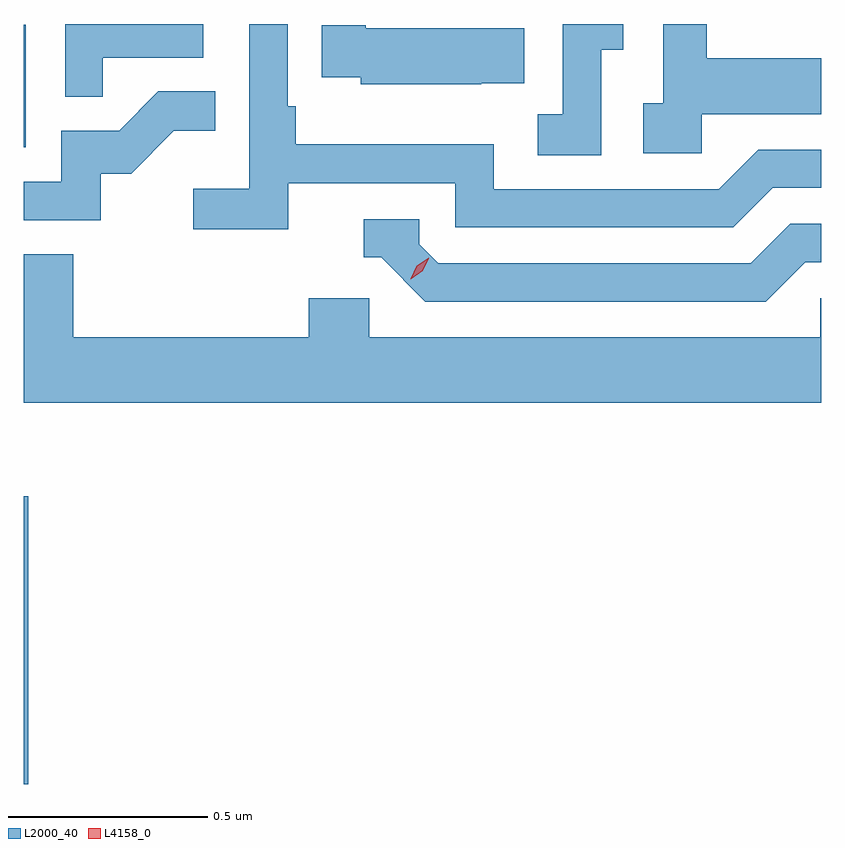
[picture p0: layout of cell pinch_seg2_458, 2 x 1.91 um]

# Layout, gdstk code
import gdstk
lib = gdstk.Library(unit=1e-6, precision=1e-09)
def R(c, l, rs):  # rectangles x0, y0, x1, y1
    for r in rs: c.add(gdstk.rectangle(r[:2], r[2:], *l))
def P(c, l, *ps):  # polygons
    for p in ps: c.add(gdstk.Polygon(p, *l))
L2000_40 = (2000, 40)
L4158_0 = (4158, 0)

pinch_seg2_458 = lib.new_cell('pinch_seg2_458')
R(pinch_seg2_458, L2000_40, [(912.952,614.712,912.964,615.433), (912.952,616.308,912.958,616.615)])
P(pinch_seg2_458, L2000_40, [(914.4,616.552),(914.455,616.552),(914.455,616.617),(914.304,616.617),(914.304,616.391),(914.241,616.391),(914.241,616.288),(914.4,616.288)],
  [(913.616,616.218),(914.034,616.218),(914.034,616.107),(914.731,616.107),(914.83,616.206),(914.952,616.206),(914.952,616.302),(914.793,616.302),(914.694,616.203),(914.13,616.203),(914.13,616.315),(913.634,616.315),(913.634,616.411),(913.614,616.411),(913.614,616.617),(913.518,616.617),(913.518,616.204),(913.377,616.204),(913.377,616.102),(913.616,616.102)],
  [(913.151,616.533),(913.402,616.533),(913.402,616.617),(913.056,616.617),(913.056,616.435),(913.151,616.435)],
  [(914.652,616.391),(914.952,616.391),(914.952,616.531),(914.665,616.531),(914.665,616.617),(914.556,616.617),(914.556,616.418),(914.505,616.418),(914.505,616.293),(914.652,616.293)],
  [(914.099,616.469),(914.207,616.469),(914.207,616.606),(913.81,616.606),(913.81,616.614),(913.699,616.614),(913.699,616.484),(913.797,616.484),(913.797,616.466),(914.099,616.466)],
  [(913.146,616.242),(913.222,616.242),(913.329,616.349),(913.433,616.349),(913.433,616.448),(913.29,616.448),(913.192,616.35),(913.047,616.35),(913.047,616.221),(912.952,616.221),(912.952,616.125),(913.146,616.125)],
  [(914.911,616.02),(914.952,616.02),(914.952,616.116),(914.874,616.116),(914.775,616.017),(913.992,616.017),(913.944,616.065),(913.944,616.128),(913.805,616.128),(913.805,616.032),(913.848,616.032),(913.959,615.921),(914.812,615.921)],
  [(914.952,615.93),(914.949,615.93),(914.949,615.832),(913.818,615.832),(913.818,615.93),(913.667,615.93),(913.667,615.832),(913.076,615.832),(913.076,616.04),(912.952,616.04),(912.952,615.668),(914.952,615.668)])
P(pinch_seg2_458, L4158_0, [(913.922,615.977),(913.922,615.978),(913.938,616.011),(913.968,616.031),(913.968,616.031),(913.968,616.03),(913.953,615.998),(913.923,615.977)])

lib.write_gds('pinch_seg2_458.gds')
